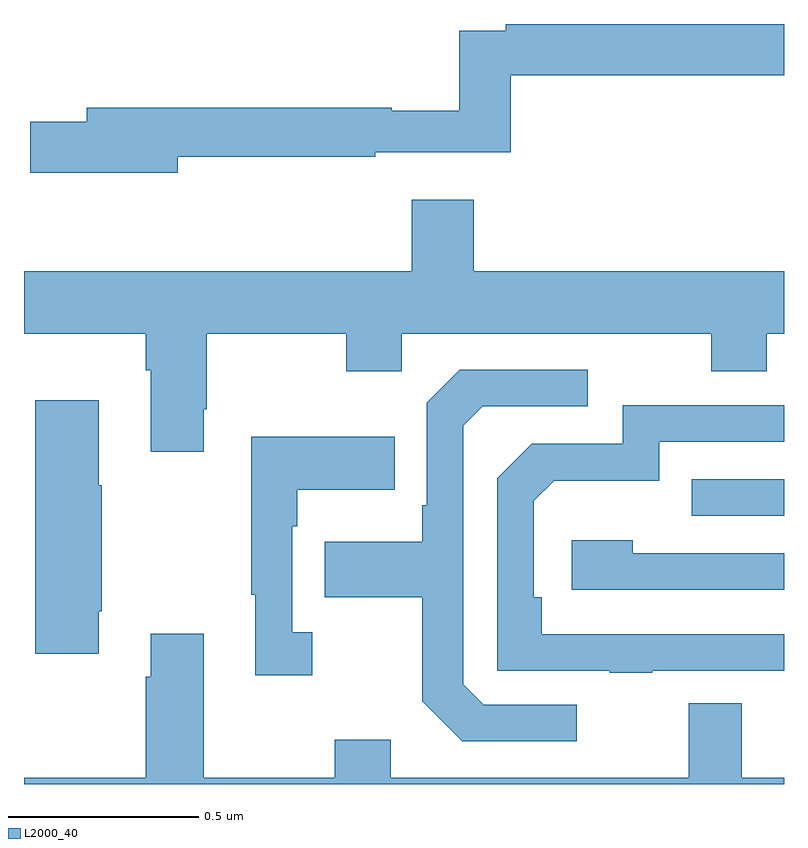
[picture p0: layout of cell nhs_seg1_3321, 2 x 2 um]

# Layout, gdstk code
import gdstk
lib = gdstk.Library(unit=1e-6, precision=1e-09)
def R(c, l, rs):  # rectangles x0, y0, x1, y1
    for r in rs: c.add(gdstk.rectangle(r[:2], r[2:], *l))
def P(c, l, *ps):  # polygons
    for p in ps: c.add(gdstk.Polygon(p, *l))
L2000_40 = (2000, 40)

nhs_seg1_3321 = lib.new_cell('nhs_seg1_3321')
R(nhs_seg1_3321, L2000_40, [(153.757,565.905,154,566.001)])
P(nhs_seg1_3321, L2000_40, [(152.404,566.85),(152.924,566.85),(152.924,566.862),(153.281,566.862),(153.281,567.064),(154,567.064),(154,567.199),(153.268,567.199),(153.268,567.181),(153.145,567.181),(153.145,566.971),(152.968,566.971),(152.968,566.978),(152.165,566.978),(152.165,566.942),(152.016,566.942),(152.016,566.807),(152.404,566.807)],
  [(152.473,566.185),(152.481,566.185),(152.481,566.384),(152.848,566.384),(152.848,566.285),(152.994,566.285),(152.994,566.384),(153.808,566.384),(153.808,566.285),(153.955,566.285),(153.955,566.384),(154,566.384),(154,566.548),(153.184,566.548),(153.184,566.737),(153.02,566.737),(153.02,566.548),(152,566.548),(152,566.384),(152.321,566.384),(152.321,566.288),(152.333,566.288),(152.333,566.073),(152.473,566.073)],
  [(153.454,565.407),(153.21,565.407),(153.156,565.461),(153.156,566.142),(153.207,566.193),(153.484,566.193),(153.484,566.289),(153.147,566.289),(153.06,566.202),(153.06,565.933),(153.048,565.933),(153.048,565.837),(152.791,565.837),(152.791,565.69),(153.048,565.69),(153.048,565.417),(153.153,565.311),(153.454,565.311)],
  [(152.197,565.654),(152.205,565.654),(152.205,565.985),(152.197,565.985),(152.197,566.209),(152.03,566.209),(152.03,565.542),(152.197,565.542)],
  [(153.653,565.497),(154,565.497),(154,565.593),(153.362,565.593),(153.362,565.69),(153.342,565.69),(153.342,565.944),(153.395,565.997),(153.672,565.997),(153.672,566.1),(154,566.1),(154,566.196),(153.576,566.196),(153.576,566.094),(153.336,566.094),(153.246,566.004),(153.246,565.497),(153.541,565.497),(153.541,565.492),(153.653,565.492)],
  [(152.758,565.598),(152.706,565.598),(152.706,565.877),(152.719,565.877),(152.719,565.973),(152.975,565.973),(152.975,566.113),(152.598,566.113),(152.598,565.697),(152.609,565.697),(152.609,565.485),(152.758,565.485)],
  [(154,565.806),(153.602,565.806),(153.602,565.84),(153.441,565.84),(153.441,565.71),(154,565.71)],
  [(154,565.216),(153.889,565.216),(153.889,565.411),(153.749,565.411),(153.749,565.216),(152.965,565.216),(152.965,565.315),(152.818,565.315),(152.818,565.216),(152.473,565.216),(152.473,565.594),(152.333,565.594),(152.333,565.481),(152.321,565.481),(152.321,565.216),(152,565.216),(152,565.199),(154,565.199)])

lib.write_gds('nhs_seg1_3321.gds')
